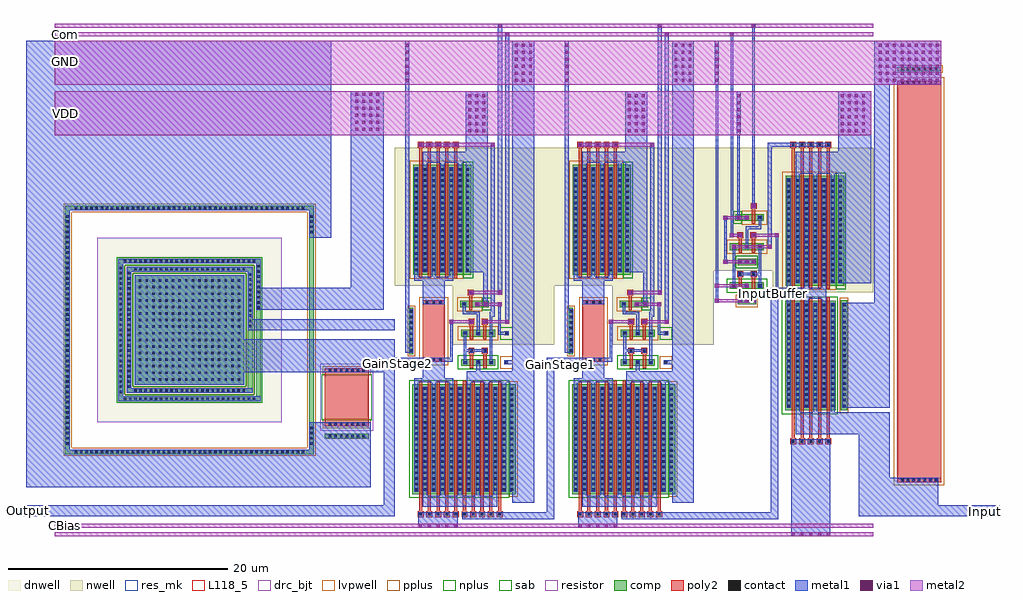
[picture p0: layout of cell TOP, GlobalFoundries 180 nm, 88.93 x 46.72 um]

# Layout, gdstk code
from math import pi, radians
import gdstk
lib = gdstk.Library(unit=1e-6, precision=1e-09)
def R(c, l, rs):  # rectangles x0, y0, x1, y1
    for r in rs: c.add(gdstk.rectangle(r[:2], r[2:], *l))
def A(c, l, x, y, w, h, nx, ny, dx, dy):  # array of equal rectangles
    R(c, l, [(x+i*dx, y+j*dy, x+i*dx+w, y+j*dy+h) for i in range(nx) for j in range(ny)])
def P(c, l, *ps):  # polygons
    for p in ps: c.add(gdstk.Polygon(p, *l))
dnwell = (12, 0)
nwell = (21, 0)
comp = (22, 0)
poly2 = (30, 0)
pplus = (31, 0)
nplus = (32, 0)
contact = (33, 0)
metal1 = (34, 0)
via1 = (35, 0)
metal2 = (36, 0)
sab = (49, 0)
resistor = (62, 0)
res_mk = (110, 5)
L118_5 = (118, 5)
drc_bjt = (127, 5)
lvpwell = (204, 0)

ppolyf_s_resistor = lib.new_cell('ppolyf_s_resistor')
R(ppolyf_s_resistor, comp, [(-1.51,0,-1.15,4)])
R(ppolyf_s_resistor, poly2, [(-0.29,0,36.29,4)])
R(ppolyf_s_resistor, pplus, [(-0.59,-0.3,36.59,4.3), (-1.67,-0.16,-0.99,4.16)])
A(ppolyf_s_resistor, contact, -1.44, 0.36, 0.22, 0.22, 1, 7, 0, 0.51)
A(ppolyf_s_resistor, contact, -0.22, 0.36, 0.22, 0.22, 1, 7, 0, 0.51)
A(ppolyf_s_resistor, contact, 36, 0.36, 0.22, 0.22, 1, 7, 0, 0.51)
R(ppolyf_s_resistor, metal1, [(-1.52,0.28,-1.14,3.72), (-0.3,0.28,0.08,3.72), (35.92,0.28,36.3,3.72)])
R(ppolyf_s_resistor, res_mk, [(0,0,36,4)])

inputbuffer = lib.new_cell('InputBuffer')
R(inputbuffer, nwell, [(-16.13,7.7,-6.96,9.67), (-21.5,9.67,-6.96,20.87)])
R(inputbuffer, comp, [(-14.99,-3.04,-10.36,6.96), (-9.94,-3.04,-9.31,7), (-19.32,6.63,-17.62,7.23), (-20.02,8.01,-16.92,8.61), (-14.92,8.32,-9.62,18.32), (-19.32,10.18,-17.62,10.78), (-20.02,11.56,-16.92,12.16), (-19.53,14.21,-16.93,14.81)])
A(inputbuffer, poly2, -14.52, -6.14, 0.54, 0.54, 5, 2, 0.8, 27.02)
A(inputbuffer, poly2, -14.39, -5.6, 0.28, 12.87, 5, 2, 0.8, 13.61)
R(inputbuffer, poly2, [(-19.24,7.76,-18.94,9.1), (-18.03,7.76,-17.73,9.1), (-19.35,9.1,-18.81,9.64), (-18.14,9.1,-17.6,9.64), (-19.23,11.31,-18.93,12.65), (-18.03,11.31,-17.73,12.65), (-19.35,12.65,-18.81,13.19), (-18.15,12.65,-17.61,13.19), (-18.03,13.96,-17.73,15.3), (-18.14,15.3,-17.6,15.84)])
R(inputbuffer, pplus, [(-10.02,-3.31,-9.22,7.23), (-19.47,6.36,-17.47,7.5), (-15.24,7.94,-10.34,18.69), (-20.32,11.21,-16.62,12.51), (-18.93,13.86,-16.63,15.16)])
R(inputbuffer, nplus, [(-15.29,-3.39,-10.18,7.31), (-20.32,7.66,-16.62,8.96), (-10.34,8.005,-9.46,18.615), (-19.47,9.91,-17.47,11.05), (-19.73,13.94,-18.93,15.08)])
A(inputbuffer, contact, -14.36, -5.98, 0.22, 0.22, 5, 2, 0.8, 27.02)
A(inputbuffer, contact, -14.76, -2.74, 0.22, 0.22, 6, 19, 0.8, 0.51)
A(inputbuffer, contact, -9.7, -2.74, 0.22, 0.22, 1, 19, 0, 0.51)
A(inputbuffer, contact, -19.2, 6.82, 0.22, 0.22, 3, 2, 0.62, 3.55)
A(inputbuffer, contact, -14.76, 8.62, 0.22, 0.22, 6, 19, 0.8, 0.51)
A(inputbuffer, contact, -10.06, 8.62, 0.22, 0.22, 1, 19, 0, 0.51)
R(inputbuffer, contact, [(-19.77,8.2,-19.55,8.42), (-18.59,8.2,-18.37,8.42), (-17.4,8.2,-17.18,8.42), (-19.19,9.26,-18.97,9.48), (-17.98,9.26,-17.76,9.48), (-19.77,11.75,-19.55,11.97), (-18.59,11.75,-18.37,11.97), (-17.4,11.75,-17.18,11.97), (-19.19,12.81,-18.97,13.03), (-17.99,12.81,-17.77,13.03), (-19.34,14.4,-19.12,14.62), (-18.59,14.4,-18.37,14.62), (-17.4,14.4,-17.18,14.62), (-17.98,15.46,-17.76,15.68)])
A(inputbuffer, metal1, -14.44, -6.06, 0.38, 0.38, 5, 2, 0.8, 27.02)
A(inputbuffer, metal1, -14.04, -3.22, 0.38, 0.4, 3, 2, 1.6, 21.32)
A(inputbuffer, metal1, -14.84, -2.82, 0.38, 9.56, 6, 2, 0.8, 11.36)
A(inputbuffer, metal1, -19.28, 6.74, 0.38, 0.38, 3, 2, 0.62, 3.55)
A(inputbuffer, metal1, -14.84, 6.74, 0.38, 0.4, 3, 2, 1.6, 1.4)
R(inputbuffer, metal1, [(-14.44,-14.53,-10.86,-5.68), (-8.29,-12.7,-5.46,-3.22), (-8.29,-12.7,-1.06,-9.21), (-1.06,-12.7,4.54,-11.7), (-14.44,-6.06,-10.86,-5.68), (-14.04,-5.22,-5.46,-3.22), (-9.78,-2.82,-5.46,6.74), (-9.78,-2.82,-9.4,6.74), (-6.86,-2.82,-5.46,30.63), (-21.4,6.75,-21.02,7.13), (-21.33,6.8,-21.09,30.63), (-15.87,7.14,-15.63,13.04), (-15.87,7.14,-11.26,8.14), (-14.84,7.14,-11.26,8.14), (-21.4,8.12,-21.02,8.5), (-19.85,8.12,-19.47,8.5), (-18.67,8.12,-18.29,8.5), (-17.48,8.12,-17.1,8.5), (-19.78,8.19,-19.54,11.98), (-17.41,8.19,-17.17,11.98), (-10.14,8.54,-9.76,18.1), (-10.14,8.54,-7.14,26.03), (-19.27,9.18,-18.89,9.56), (-18.06,9.18,-17.68,9.56), (-19.2,9.25,-17.17,9.49), (-20.62,10.29,-20.24,10.67), (-20.55,10.34,-20.31,14.63), (-19.85,11.67,-19.47,12.05), (-18.67,11.67,-18.29,12.05), (-17.48,11.67,-17.1,12.05), (-16.59,11.67,-16.21,21.34), (-18.6,11.74,-18.36,13.71), (-20.04,12.73,-19.66,13.11), (-19.97,12.73,-19.73,31.41), (-19.27,12.73,-18.89,13.11), (-18.07,12.73,-17.69,13.11), (-15.94,12.73,-15.56,13.11), (-18.6,13.47,-17.17,13.71), (-17.41,13.47,-17.17,14.63), (-20.62,14.32,-20.24,14.7), (-19.42,14.32,-19.04,14.7), (-19.35,14.32,-19.11,26.03), (-18.67,14.32,-18.29,14.7), (-17.48,14.32,-17.1,14.7), (-18.06,15.38,-17.68,15.76), (-17.99,15.38,-17.75,32.19), (-14.04,18.5,-8.14,20.5), (-21.33,18.92,-21.09,30.63), (-16.59,20.96,-10.86,21.34), (-14.44,20.96,-10.86,21.34), (-19.42,22.03,-19.04,26.03), (-21.4,26.63,-21.02,30.63), (-6.86,26.63,-0.78,30.63), (-20.04,31.03,-19.66,31.41), (-18.06,31.81,-17.68,32.19)])
P(inputbuffer, metal1, [(-18.6,11.73),(-18.6,11.73),(-18.6,11.73),(-18.6,11.73)])
A(inputbuffer, via1, -14.38, -14.47, 0.26, 0.26, 5, 1, 0.8, 0)
A(inputbuffer, via1, -19.22, 6.8, 0.26, 0.26, 3, 2, 0.62, 3.55)
A(inputbuffer, via1, -19.36, 22.3, 0.26, 0.26, 1, 6, 0, 0.64)
A(inputbuffer, via1, -9.91, 22.3, 0.26, 0.26, 3, 6, 0.64, 0.64)
A(inputbuffer, via1, -7.98, 22.3, 0.26, 0.26, 1, 6, 0, 0.64)
A(inputbuffer, via1, -21.34, 26.9, 0.26, 0.26, 1, 6, 0, 0.64)
A(inputbuffer, via1, -6.46, 26.9, 0.26, 0.26, 3, 6, 0.64, 0.64)
A(inputbuffer, via1, -4.46, 26.9, 0.26, 0.26, 3, 6, 0.64, 0.64)
A(inputbuffer, via1, -2.55, 26.9, 0.26, 0.26, 3, 6, 0.64, 0.64)
R(inputbuffer, via1, [(-21.34,6.81,-21.08,7.07), (-21.34,8.18,-21.08,8.44), (-18.61,8.18,-18.35,8.44), (-20.56,10.35,-20.3,10.61), (-19.79,11.73,-19.53,11.99), (-16.53,11.73,-16.27,11.99), (-19.98,12.79,-19.72,13.05), (-19.21,12.79,-18.95,13.05), (-18.01,12.79,-17.75,13.05), (-15.88,12.79,-15.62,13.05), (-20.56,14.38,-20.3,14.64), (-19.36,14.38,-19.1,14.64), (-18.61,14.38,-18.35,14.64), (-18,15.44,-17.74,15.7), (-19.98,31.09,-19.72,31.35), (-18,31.87,-17.74,32.13)])
A(inputbuffer, metal2, -19.28, 6.74, 0.38, 0.38, 3, 2, 0.62, 3.55)
R(inputbuffer, metal2, [(-21.5,-14.53,-6.96,-14.15), (-21.5,-13.75,-6.96,-13.37), (-19.28,6.74,-17.66,7.12), (-21.4,6.75,-21.02,7.13), (-21.35,6.79,-17.71,7.07), (-21.4,8.12,-21.02,8.5), (-18.67,8.12,-18.29,8.5), (-21.35,8.17,-18.34,8.45), (-20.62,10.29,-20.24,10.67), (-19.28,10.29,-17.66,10.67), (-20.55,10.34,-17.71,10.62), (-19.85,11.67,-19.47,12.05), (-16.59,11.67,-16.21,12.05), (-19.8,11.72,-16.26,12), (-20.04,12.73,-19.66,13.11), (-19.27,12.73,-18.89,13.11), (-18.07,12.73,-17.69,13.11), (-15.94,12.73,-15.56,13.11), (-20.04,12.78,-18.92,13.06), (-17.99,12.78,-15.63,13.06), (-20.62,14.32,-20.24,14.7), (-19.42,14.32,-19.04,14.7), (-18.67,14.32,-18.29,14.7), (-20.57,14.37,-18.34,14.65), (-18.06,15.38,-17.68,15.76), (-21.5,22.03,-7.14,26.03), (-21.5,26.63,-0.78,30.63), (-21.5,31.03,-6.96,31.41), (-21.5,31.81,-6.96,32.19)])
r = gdstk.Reference(ppolyf_s_resistor, (-0.78,26.71), rotation=3*pi/2, x_reflection=True); r.repetition = gdstk.Repetition(1, 1, v1=(0,0), v2=(0,0)); inputbuffer.add(r)

gainstage = lib.new_cell('GainStage')
R(gainstage, nwell, [(-0.98,2.93,8.26,8.29), (-6.28,8.29,8.26,20.87)])
R(gainstage, comp, [(-4.65,-10.67,4.75,-0.67), (-0.21,1.03,2.89,1.63), (-4.93,2.05,-4.57,6.32), (-0.21,3.68,2.89,4.28), (-0.29,6.33,2.31,6.93), (-4.58,9.32,0.72,19.32)])
A(gainstage, poly2, -4.18, -12.77, 0.54, 0.54, 10, 1, 0.8, 0)
A(gainstage, poly2, -4.05, -12.23, 0.28, 11.87, 10, 1, 0.8, 0)
A(gainstage, poly2, -4.05, 9.01, 0.28, 11.87, 5, 1, 0.8, 0)
A(gainstage, poly2, -4.18, 20.88, 0.54, 0.54, 5, 1, 0.8, 0)
R(gainstage, poly2, [(0.59,0.78,0.89,2.12), (1.8,0.78,2.1,2.12), (-3.71,1.38,-1.71,6.98), (0.46,2.12,1,2.66), (1.67,2.12,2.21,2.66), (0.59,3.43,0.89,4.77), (1.78,3.43,2.08,4.77), (0.46,4.77,1,5.31), (1.65,4.77,2.19,5.31), (0.51,6.08,0.81,7.42), (0.38,7.42,0.92,7.96)])
R(gainstage, pplus, [(4.16,-10.94,4.96,-0.4), (3.35,0.76,4.49,1.9), (-4.01,1.08,-1.41,7.28), (-5.09,1.89,-4.41,6.48), (-0.51,3.33,3.19,4.63), (-0.59,5.98,1.71,7.28), (-4.9,8.94,0,19.69)])
R(gainstage, nplus, [(-4.95,-11.02,4.16,-0.32), (-0.51,0.68,3.19,1.98), (3.35,3.4,4.49,4.54), (1.71,6.06,2.51,7.2), (0,9.005,0.88,19.615)])
A(gainstage, contact, -4.02, -12.61, 0.22, 0.22, 10, 1, 0.8, 0)
A(gainstage, contact, -4.42, -10.37, 0.22, 0.22, 11, 19, 0.8, 0.51)
A(gainstage, contact, 4.3, -10.37, 0.22, 0.22, 1, 19, 0, 0.51)
A(gainstage, contact, -4.86, 2.29, 0.22, 0.22, 1, 8, 0, 0.51)
A(gainstage, contact, -4.42, 9.62, 0.22, 0.22, 6, 19, 0.8, 0.51)
A(gainstage, contact, 0.28, 9.62, 0.22, 0.22, 1, 19, 0, 0.51)
A(gainstage, contact, -4.02, 21.04, 0.22, 0.22, 5, 1, 0.8, 0)
R(gainstage, contact, [(0.04,1.22,0.26,1.44), (1.23,1.22,1.45,1.44), (2.41,1.22,2.63,1.44), (3.81,1.22,4.03,1.44), (-3.42,1.46,-3.2,1.68), (-2.82,1.46,-2.6,1.68), (-2.82,1.46,-2.6,1.68), (-2.22,1.46,-2,1.68), (0.62,2.28,0.84,2.5), (1.83,2.28,2.05,2.5), (0.04,3.87,0.26,4.09), (1.23,3.87,1.45,4.09), (2.41,3.87,2.63,4.09), (3.81,3.87,4.03,4.09), (0.62,4.93,0.84,5.15), (1.81,4.93,2.03,5.15), (-0.04,6.52,0.18,6.74), (1.15,6.52,1.37,6.74), (1.9,6.52,2.12,6.74), (-3.42,6.68,-3.2,6.9), (-2.82,6.68,-2.6,6.9), (-2.82,6.68,-2.6,6.9), (-2.22,6.68,-2,6.9), (0.54,7.58,0.76,7.8)])
A(gainstage, metal1, -4.1, -12.69, 0.38, 0.38, 10, 1, 0.8, 0)
A(gainstage, metal1, -3.7, -10.85, 0.38, 0.4, 5, 1, 1.6, 0)
A(gainstage, metal1, -4.5, -10.45, 0.38, 9.56, 11, 1, 0.8, 0)
A(gainstage, metal1, -4.5, -0.89, 0.38, 0.4, 6, 1, 1.6, 0)
A(gainstage, metal1, -4.5, 9.14, 0.38, 0.4, 3, 1, 1.6, 0)
A(gainstage, metal1, -4.5, 9.54, 0.38, 9.56, 6, 1, 0.8, 0)
A(gainstage, metal1, -3.7, 19.1, 0.38, 0.4, 3, 1, 1.6, 0)
A(gainstage, metal1, -4.1, 20.96, 0.38, 0.38, 5, 1, 0.8, 0)
R(gainstage, metal1, [(-4.1,-13.75,-0.52,-12.31), (-0.1,-12.99,8.26,-12.31), (-4.1,-12.69,-0.52,-12.31), (-0.1,-12.69,3.48,-12.31), (-3.7,-11.85,3.08,-10.85), (4.46,-11.47,6.46,30.63), (4.22,-10.45,4.6,-0.89), (4.22,-0.89,4.6,-0.49), (-4.5,-0.49,-0.92,-0.11), (-3.71,-0.49,-1.71,1.76), (0.3,-0.49,6.46,0.51), (1.15,0.07,1.53,1.52), (-6.28,0.76,-1.71,1.76), (-0.04,1.14,0.34,1.52), (1.15,1.14,1.53,1.52), (2.33,1.14,2.71,1.52), (3.73,1.14,4.11,1.52), (3.73,1.14,6.46,1.52), (0.03,1.21,0.27,4.1), (2.4,1.21,2.64,4.1), (-3.71,1.38,-0.98,1.76), (-1.22,1.38,-0.98,5.16), (2.4,1.52,2.64,3.79), (0.54,2.2,0.92,2.58), (1.75,2.2,2.13,2.58), (-5.32,2.21,-4.94,30.63), (-4.94,2.21,-4.56,6.16), (0.03,2.27,2.06,2.51), (-0.04,3.79,0.34,4.17), (1.15,3.79,1.53,4.17), (2.33,3.79,2.71,4.17), (3.73,3.79,4.11,4.17), (1.22,3.85,1.46,5.93), (2.4,3.85,2.64,5.93), (3.17,3.86,3.41,6.75), (3.17,3.86,4.04,4.1), (-1.29,4.84,-0.91,5.22), (0.54,4.85,0.92,5.23), (1.73,4.85,2.11,5.23), (3.8,4.85,4.18,31.41), (2.48,5.48,2.86,21.34), (-0.05,5.69,1.46,5.93), (-0.05,5.69,0.19,6.75), (-0.12,6.44,0.26,6.82), (1.07,6.44,1.45,6.82), (1.82,6.44,2.2,9.68), (1.82,6.44,2.2,6.82), (3.1,6.44,3.48,6.82), (-3.71,6.6,-1.71,9.14), (0.46,7.5,0.84,7.88), (3.14,7.5,3.52,32.19), (-4.5,8.76,-0.92,9.14), (0.2,9.54,2.2,26.03), (0.2,9.54,0.58,19.1), (-3.7,19.5,2.2,20.5), (-4.1,20.96,-0.52,21.34)])
P(gainstage, metal1, [(1.46,3.85),(1.46,3.85),(1.46,3.85),(1.46,3.85)])
A(gainstage, via1, -4.04, -13.69, 0.26, 0.26, 5, 2, 0.8, 34.71)
A(gainstage, via1, 0.43, 22.3, 0.26, 0.26, 3, 6, 0.64, 0.64)
A(gainstage, via1, -5.26, 26.9, 0.26, 0.26, 1, 6, 0, 0.64)
A(gainstage, via1, 4.69, 26.9, 0.26, 0.26, 3, 6, 0.64, 0.64)
R(gainstage, via1, [(-1.23,4.91,-0.97,5.17), (0.6,4.91,0.86,5.17), (1.79,4.91,2.05,5.17), (3.86,4.91,4.12,5.17), (1.13,6.5,1.39,6.76), (1.88,6.5,2.14,6.76), (3.16,6.5,3.42,6.76), (0.52,7.56,0.78,7.82), (3.2,7.56,3.46,7.82), (2.54,21.02,2.8,21.28), (3.86,31.09,4.12,31.35), (3.2,31.87,3.46,32.13)])
R(gainstage, metal2, [(-6.28,-14.53,8.26,-14.15), (-6.28,-13.75,8.26,-13.37), (-1.29,4.84,-0.91,5.22), (0.54,4.85,0.92,5.23), (1.73,4.85,2.11,5.23), (3.8,4.85,4.18,5.23), (-1.21,4.9,0.84,5.18), (1.78,4.9,4.13,5.18), (1.07,6.44,1.45,6.82), (1.82,6.44,2.2,6.82), (3.1,6.44,3.48,6.82), (1.12,6.49,3.43,6.77), (0.46,7.5,0.84,7.88), (3.14,7.5,3.52,7.88), (0.59,7.55,3.47,7.83), (-4.1,20.96,2.86,21.34), (-6.28,22.03,8.26,26.03), (-6.28,26.63,8.26,30.63), (-6.28,31.03,8.26,31.41), (-6.28,31.81,8.26,32.19)])
R(gainstage, res_mk, [(-3.71,1.68,-1.71,6.68), (-3.71,1.68,-1.71,6.68)])

npn_10p00x10p00_0 = lib.new_cell('npn_10p00x10p00_0')
R(npn_10p00x10p00_0, dnwell, [(-3.4,-3.4,13.4,13.4)])
R(npn_10p00x10p00_0, comp, [(0,0,10,10)])
P(npn_10p00x10p00_0, comp, [(-6.32,-6.32),(-6.32,16.32),(15.9,16.32),(15.9,15.9),(-5.9,15.9),(-5.9,-5.9),(15.9,-5.9),(15.9,16.32),(16.32,16.32),(16.32,-6.32)],
  [(-0.74,-0.74),(-0.74,10.74),(10.32,10.74),(10.32,10.32),(-0.32,10.32),(-0.32,-0.32),(10.32,-0.32),(10.32,10.74),(10.74,10.74),(10.74,-0.74)],
  [(-1.48,-1.48),(-1.48,11.48),(11.06,11.48),(11.06,11.06),(-1.06,11.06),(-1.06,-1.06),(11.06,-1.06),(11.06,11.48),(11.48,11.48),(11.48,-1.48)])
P(npn_10p00x10p00_0, pplus, [(-6.48,-6.48),(-6.48,16.48),(15.74,16.48),(15.74,15.74),(-5.74,15.74),(-5.74,-5.74),(15.74,-5.74),(15.74,16.48),(16.48,16.48),(16.48,-6.48)],
  [(-0.9,-0.9),(-0.9,10.9),(10.16,10.9),(10.16,10.16),(-0.16,10.16),(-0.16,-0.16),(10.16,-0.16),(10.16,10.9),(10.9,10.9),(10.9,-0.9)])
R(npn_10p00x10p00_0, nplus, [(-0.16,-0.16,10.16,10.16)])
P(npn_10p00x10p00_0, nplus, [(-1.64,-1.64),(-1.64,11.64),(10.9,11.64),(10.9,10.9),(-0.9,10.9),(-0.9,-0.9),(10.9,-0.9),(10.9,11.64),(11.64,11.64),(11.64,-1.64)])
A(npn_10p00x10p00_0, contact, -5.45, -6.22, 0.22, 0.22, 4, 1, 0.47, 0)
A(npn_10p00x10p00_0, contact, 13.82, -6.22, 0.22, 0.22, 4, 1, 0.47, 0)
A(npn_10p00x10p00_0, contact, -6.22, -5.45, 0.22, 0.22, 1, 45, 0, 0.47)
A(npn_10p00x10p00_0, contact, 16, -5.45, 0.22, 0.22, 1, 45, 0, 0.47)
A(npn_10p00x10p00_0, contact, -1.38, -0.985, 0.22, 0.22, 1, 26, 0, 0.47)
A(npn_10p00x10p00_0, contact, 11.16, -0.985, 0.22, 0.22, 1, 26, 0, 0.47)
A(npn_10p00x10p00_0, contact, -0.64, -0.045, 0.22, 0.22, 1, 22, 0, 0.47)
A(npn_10p00x10p00_0, contact, 10.42, -0.045, 0.22, 0.22, 1, 22, 0, 0.47)
A(npn_10p00x10p00_0, contact, 0.39, 0.39, 0.22, 0.22, 16, 16, 0.6, 0.6)
A(npn_10p00x10p00_0, contact, -0.28, 10.42, 0.22, 0.22, 23, 1, 0.47, 0)
A(npn_10p00x10p00_0, contact, -0.75, 11.16, 0.22, 0.22, 25, 1, 0.47, 0)
A(npn_10p00x10p00_0, contact, -5.45, 16, 0.22, 0.22, 45, 1, 0.47, 0)
R(npn_10p00x10p00_0, metal1, [(-6.32,-6.32,-5.9,16.32), (-6.32,-6.32,-3.4,-5.9), (13.4,-6.32,16.32,-5.9), (15.9,-6.32,16.32,16.32), (-1.48,-1.48,-1.06,11.48), (11.06,-1.48,11.48,11.48), (-0.74,-0.74,-0.32,10.74), (10.32,-0.74,10.74,10.74), (0,0,10,10), (0,0,10,10), (-0.74,10.32,10.74,10.74), (-1.48,11.06,11.48,11.48), (-6.32,15.9,16.32,16.32)])
P(npn_10p00x10p00_0, metal1, [(-6.32,-6.32),(-6.32,16.32),(15.9,16.32),(15.9,15.9),(-5.9,15.9),(-5.9,-5.9),(-3.4,-5.9),(-3.4,-6.32)],
  [(13.4,-6.32),(13.4,-5.9),(15.9,-5.9),(15.9,16.32),(16.32,16.32),(16.32,-6.32)],
  [(-0.74,-0.74),(-0.74,10.74),(10.74,10.74),(10.74,-0.74),(10.32,-0.74),(10.32,10.32),(-0.32,10.32),(-0.32,-0.74)],
  [(-1.48,-1.48),(-1.48,11.48),(11.48,11.48),(11.48,-1.48),(11.06,-1.48),(11.06,11.06),(-1.06,11.06),(-1.06,-1.48)])
R(npn_10p00x10p00_0, L118_5, [(0,0,10,10)])
R(npn_10p00x10p00_0, drc_bjt, [(-3.4,-3.4,13.4,13.4)])
R(npn_10p00x10p00_0, lvpwell, [(-0.9,-0.9,10.9,10.9)])
npn_10p00x10p00_0.add(gdstk.Label('E', (5.005,4.995), layer=34, texttype=0))
npn_10p00x10p00_0.add(gdstk.Label('B', (-0.515,-0.485), layer=34, texttype=0))
npn_10p00x10p00_0.add(gdstk.Label('B', (10.525,-0.495), layer=34, texttype=0))
npn_10p00x10p00_0.add(gdstk.Label('B', (10.55,10.54), layer=34, texttype=0))
npn_10p00x10p00_0.add(gdstk.Label('C', (-1.255,11.26), layer=34, texttype=0))
npn_10p00x10p00_0.add(gdstk.Label('C', (11.27,-1.235), layer=34, texttype=0))
npn_10p00x10p00_0.add(gdstk.Label('C', (11.285,11.285), layer=34, texttype=0))
npn_10p00x10p00_0.add(gdstk.Label('S', (16.105,16.105), layer=34, texttype=0))
npn_10p00x10p00_0.add(gdstk.Label('S', (16.07,-6.095), layer=34, texttype=0))
npn_10p00x10p00_0.add(gdstk.Label('S', (16.07,-6.095), layer=34, texttype=0))
npn_10p00x10p00_0.add(gdstk.Label('S', (-6.095,-6.055), layer=34, texttype=0))
npn_10p00x10p00_0.add(gdstk.Label('S', (-6.095,-6.055), layer=34, texttype=0))

npn_10p00x10p00 = lib.new_cell('npn_10p00x10p00')
npn_10p00x10p00.add(gdstk.Reference(npn_10p00x10p00_0, (6.6,6.6)))
npn_10p00x10p00.add(gdstk.Label('I1_default_E', (6.625,6.625), layer=34, texttype=10))
npn_10p00x10p00.add(gdstk.Label('I1_default_S', (0.305,22.525), layer=34, texttype=10))
npn_10p00x10p00.add(gdstk.Label('I1_default_S', (22.525,0.305), layer=34, texttype=10))
npn_10p00x10p00.add(gdstk.Label('I1_default_S', (20.025,0.305), layer=34, texttype=10))
npn_10p00x10p00.add(gdstk.Label('I1_default_S', (0.305,0.305), layer=34, texttype=10))
npn_10p00x10p00.add(gdstk.Label('I1_default_S', (0.305,0.305), layer=34, texttype=10))
npn_10p00x10p00.add(gdstk.Label('I1_default_C', (5.145,5.145), layer=34, texttype=10))
npn_10p00x10p00.add(gdstk.Label('I1_default_C', (17.685,5.145), layer=34, texttype=10))
npn_10p00x10p00.add(gdstk.Label('I1_default_C', (5.145,17.685), layer=34, texttype=10))
npn_10p00x10p00.add(gdstk.Label('I1_default_B', (5.885,5.885), layer=34, texttype=10))
npn_10p00x10p00.add(gdstk.Label('I1_default_B', (16.945,5.885), layer=34, texttype=10))
npn_10p00x10p00.add(gdstk.Label('I1_default_B', (5.885,16.945), layer=34, texttype=10))

npn_bjt = lib.new_cell('npn_bjt')
npn_bjt.add(gdstk.Reference(npn_10p00x10p00, (0,0)))

ppolyf_u_high_rs_resisto = lib.new_cell('ppolyf_u_high_Rs_resistor')
R(ppolyf_u_high_rs_resisto, comp, [(-1.76,0,-1.34,4)])
R(ppolyf_u_high_rs_resisto, poly2, [(-0.64,0,4.64,4)])
R(ppolyf_u_high_rs_resisto, pplus, [(-0.82,-0.18,0,4.18), (4,-0.18,4.82,4.18), (-1.78,-0.02,-1.32,4.02)])
A(ppolyf_u_high_rs_resisto, contact, -1.66, 0.36, 0.22, 0.22, 1, 7, 0, 0.51)
A(ppolyf_u_high_rs_resisto, contact, -0.57, 0.36, 0.22, 0.22, 1, 7, 0, 0.51)
A(ppolyf_u_high_rs_resisto, contact, 4.35, 0.36, 0.22, 0.22, 1, 7, 0, 0.51)
R(ppolyf_u_high_rs_resisto, metal1, [(-1.74,0.28,-1.36,3.72), (-0.65,0.28,-0.27,3.72), (4.27,0.28,4.65,3.72)])
R(ppolyf_u_high_rs_resisto, sab, [(-0.1,-0.28,4.1,4.28)])
R(ppolyf_u_high_rs_resisto, resistor, [(-1.04,-0.4,5.04,4.4)])
R(ppolyf_u_high_rs_resisto, res_mk, [(0,0,4,4)])

outputbuffer = lib.new_cell('OutputBuffer')
A(outputbuffer, contact, 2.68, 15.28, 0.22, 0.22, 1, 11, 0, 0.47)
A(outputbuffer, contact, 3.42, 16.96, 0.22, 0.22, 1, 9, 0, 0.47)
R(outputbuffer, metal1, [(-17.87,-1.95,15.94,-0.95), (14.94,-1.95,15.94,14.17), (-17.64,0.71,13.77,3.71), (-17.64,3.71,-13.64,41.38), (8.16,3.71,13.77,6.63), (1,11.17,15.94,14.17), (2.58,15.02,15.94,16.02), (2.58,15.03,3,20.77), (3.32,16.88,14.94,18.88), (3.33,16.88,3.74,21.51), (11.94,16.88,14.94,36.78), (8.16,23.43,10.16,41.38), (-15,25.93,8.58,41.38)])
A(outputbuffer, via1, 12.36, 33.17, 0.26, 0.26, 4, 6, 0.64, 0.64)
R(outputbuffer, metal2, [(-15,-3.78,15.94,-3.4), (-15,-3,15.94,-2.62), (-15,32.78,15.94,36.78), (-15,37.38,15.94,41.38), (-15,41.78,15.94,42.16), (-15,42.56,15.94,42.94)])
r = gdstk.Reference(npn_bjt, (8.86,26.63), rotation=3*pi/2, x_reflection=True); r.repetition = gdstk.Repetition(1, 1, v1=(0,0), v2=(0,0)); outputbuffer.add(r)
r = gdstk.Reference(ppolyf_u_high_rs_resisto, (13.59,6.9), rotation=pi/2); r.repetition = gdstk.Repetition(1, 1, v1=(0,0), v2=(0,0)); outputbuffer.add(r)

top = lib.new_cell('TOP')
R(top, metal1, [(8.54,-13.05,9.22,1.7), (23.76,-13.05,29.63,-12.37), (28.95,-13.05,29.63,8.08), (28.95,7.08,31.31,8.08)])
r = gdstk.Reference(inputbuffer, (45.26,-0.06)); r.repetition = gdstk.Repetition(1, 1, v1=(0,0), v2=(0,0)); top.add(r)
r = gdstk.Reference(gainstage, (0.96,-0.06)); r.repetition = gdstk.Repetition(1, 1, v1=(0,0), v2=(0,0)); top.add(r)
r = gdstk.Reference(gainstage, (15.5,-0.06)); r.repetition = gdstk.Repetition(1, 1, v1=(0,0), v2=(0,0)); top.add(r)
r = gdstk.Reference(outputbuffer, (-21.26,-10.81)); r.repetition = gdstk.Repetition(1, 1, v1=(0,0), v2=(0,0)); top.add(r)
top.add(gdstk.Label('Input', (48.53,-12.28), layer=34, texttype=10))
top.add(gdstk.Label('GainStage1', (9.84,1.06), layer=34, texttype=10))
top.add(gdstk.Label('GainStage2', (-5.09,1.16), layer=34, texttype=10))
top.add(gdstk.Label('InputBuffer', (29.22,7.57), layer=34, texttype=10))
top.add(gdstk.Label('Output', (-38.65,-12.26), layer=34, texttype=10))
top.add(gdstk.Label('VDD', (-35.32,23.92), layer=36, texttype=10))
top.add(gdstk.Label('GND', (-35.32,28.65), layer=36, texttype=10))
top.add(gdstk.Label('Com', (-35.31,31.18), layer=36, texttype=10))
top.add(gdstk.Label('TBias', (-35.3,31.93), layer=36, texttype=10))
top.add(gdstk.Label('CBias', (-35.42,-13.64), layer=36, texttype=10))
top.add(gdstk.Label('CGBias', (-35.42,-14.45), layer=36, texttype=10))

lib.write_gds('TOP.gds')
